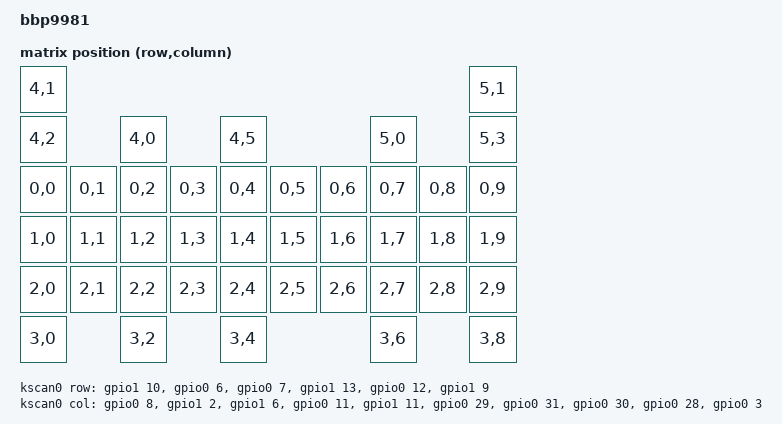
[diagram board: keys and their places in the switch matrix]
/*
 * Copyright (c) 2025 ZitaoTech
 *
 * SPDX-License-Identifier: MIT
 */

/dts-v1/;
#include <nordic/nrf52840_qiaa.dtsi>

#include <dt-bindings/led/led.h>
#include <dt-bindings/zmk/matrix_transform.h>
#include "bbp9981-pinctrl.dtsi"
#include "bbp9981-layouts.dtsi"

/ {
    model = "bbp9981";
    compatible = "ZitaoTech,bbp9981";

    chosen {
        zephyr,code-partition = &code_partition;
        zephyr,sram = &sram0;
        zephyr,flash = &flash0;
        zephyr,console = &cdc_acm_uart;
        zmk,battery = &vbatt;
        zmk,kscan = &kscan0;
        zmk,physical-layouts = &bbp9981_layout;
        zmk,keyboard_backlight = &keyboard_backlight;
        zmk,trackpad_led = &trackpad_led;
        zmk,backlight = &backlight;
        zmk,underglow = &led_strip;
        zmk,studio-rpc-uart = &cdc_acm_uart; // ✅ enable ZMK Studio
    };

    keyboard_backlight: pwmledfo{
        compatible = "pwm-leds";
        pwm_led_0 {
            pwms = <&pwm2 0 PWM_USEC(20) PWM_POLARITY_NORMAL>;
        };
        pwm_led_1 {
            pwms = <&pwm3 0 PWM_MSEC(10) PWM_POLARITY_NORMAL>;
        };
    };

    trackpad_led: pwmledo{
        compatible = "pwm-leds";
        pwm_led_0 {
            pwms = <&pwm1 0 PWM_USEC(20) PWM_POLARITY_NORMAL>;
        };
    };

    backlight: pwmleds {
        compatible = "pwm-leds";
        pwm_led_0 {
            pwms = <&pwm0 0 PWM_MSEC(10) PWM_POLARITY_NORMAL>;
        };
    };

    default_transform: keymap_transform_0 {
        compatible = "zmk,matrix-transform";
        columns = <10>;
        rows = <6>;
        map = <
RC(4,1)                                                                   RC(5,1)
RC(4,2)          RC(4,0)             RC(4,5)             RC(5,0)          RC(5,3)
RC(0,0)  RC(0,1) RC(0,2) RC(0,3) RC(0,4) RC(0,5) RC(0,6) RC(0,7) RC(0,8)  RC(0,9)
RC(1,0)  RC(1,1) RC(1,2) RC(1,3) RC(1,4) RC(1,5) RC(1,6) RC(1,7) RC(1,8)  RC(1,9)
RC(2,0)  RC(2,1) RC(2,2) RC(2,3) RC(2,4) RC(2,5) RC(2,6) RC(2,7) RC(2,8)  RC(2,9)
RC(3,0)          RC(3,2)             RC(3,4)             RC(3,6)          RC(3,8)
        >;
    };

    kscan0: kscan {
        compatible = "zmk,kscan-gpio-matrix";
        diode-direction = "col2row";
        row-gpios
            = <&gpio1 10 (GPIO_ACTIVE_HIGH | GPIO_PULL_DOWN)>
            , <&gpio0 6  (GPIO_ACTIVE_HIGH | GPIO_PULL_DOWN)>
            , <&gpio0 7 (GPIO_ACTIVE_HIGH | GPIO_PULL_DOWN)>
            , <&gpio1 13  (GPIO_ACTIVE_HIGH | GPIO_PULL_DOWN)>
            , <&gpio0 12  (GPIO_ACTIVE_HIGH | GPIO_PULL_DOWN)>
            , <&gpio1 9 (GPIO_ACTIVE_HIGH | GPIO_PULL_DOWN)>
            ;
        col-gpios
            = <&gpio0 8  GPIO_ACTIVE_HIGH>
            , <&gpio1 2  GPIO_ACTIVE_HIGH>
            , <&gpio1 6  GPIO_ACTIVE_HIGH>
            , <&gpio0 11 GPIO_ACTIVE_HIGH>
            , <&gpio1 11 GPIO_ACTIVE_HIGH>
            , <&gpio0 29 GPIO_ACTIVE_HIGH>
            , <&gpio0 31 GPIO_ACTIVE_HIGH>
            , <&gpio0 30 GPIO_ACTIVE_HIGH>
            , <&gpio0 28 GPIO_ACTIVE_HIGH>
            , <&gpio0 3 GPIO_ACTIVE_HIGH>
            ;
    };

    leds {
        compatible = "gpio-leds";
        blue_led: led_0 {
            gpios = <&gpio0 10 GPIO_ACTIVE_HIGH>;
        };
    };

    // Node name must match original "EXT_POWER" label to preserve user settings.
    EXT_POWER {
        compatible = "zmk,ext-power-generic";
        control-gpios = <&gpio0 13 GPIO_ACTIVE_LOW>;
    };

    vbatt: vbatt {
        compatible = "zmk,battery-voltage-divider";
        io-channels = <&adc 2>;
        output-ohms = <2000000>;
        full-ohms = <2820000>;  // 2000000 + 820000
    };
};

&adc {
    status = "okay";
};

&gpiote {
    status = "okay";
};

&gpio0 {
    status = "okay";
};

&gpio1 {
    status = "okay";
};

&pwm0 {
    status = "okay";
    pinctrl-0 = <&pwm0_default>;
    pinctrl-1 = <&pwm0_sleep>;
    pinctrl-names = "default", "sleep";
};

&pwm1 {
    status = "okay";
    pinctrl-0 = <&pwm1_default>;
    pinctrl-1 = <&pwm1_sleep>;
    pinctrl-names = "default", "sleep";
};

&pwm2 {
    status = "okay";
    pinctrl-0 = <&pwm2_default>;
    pinctrl-1 = <&pwm2_sleep>;
    pinctrl-names = "default", "sleep";
};

&pwm3 {
    status = "okay";
    pinctrl-0 = <&pwm3_default>;
    pinctrl-1 = <&pwm3_sleep>;
    pinctrl-names = "default", "sleep";
};


&i2c0 {
    status = "okay";
    compatible = "nordic,nrf-twim";
    clock-frequency = <I2C_BITRATE_FAST>; 
    pinctrl-0 = <&i2c0_default>;
    pinctrl-1 = <&i2c0_sleep>;
    pinctrl-names = "default", "sleep";

    trackpad:a320@57 {
        compatible = "avago,a320";
        reg = <0x57>;
        status = "okay";
    };
};


/ {
    trackpad_inputs {
        #address-cells = <1>;
        #size-cells = <0>;

    };
    trackpad_listener: trackpad_listener {
        compatible = "zmk,input-listener";
        status = "disabled";
        device = <&trackpad>;
    };
};

&trackpad_listener {
    status = "okay";
};


&spi3 {
    compatible = "nordic,nrf-spim";
    status = "okay";

    pinctrl-0 = <&spi3_default>;
    pinctrl-1 = <&spi3_sleep>;
    pinctrl-names = "default", "sleep";

    led_strip: ws2812@0 {
        compatible = "worldsemi,ws2812-spi";
        /* SPI */
        reg = <0>; /* ignored, but necessary for SPI bindings */
        spi-max-frequency = <400000>;
        /* WS2812 */
        chain-length = <1>; /* number of LEDs */
        spi-one-frame = <0x70>;
        spi-zero-frame = <0x40>;
        color-mapping = <LED_COLOR_ID_GREEN
                         LED_COLOR_ID_RED
                         LED_COLOR_ID_BLUE>;
    };
};

&usbd {
    status = "okay";
    cdc_acm_uart: cdc_acm_uart {
        compatible = "zephyr,cdc-acm-uart";
    };
};

&bbp9981_layout{
	transform = <&default_transform>;
	kscan = <&kscan0>;
}; 

zephyr_udc0: &usbd { 
    compatible = "nordic,nrf-usbd"; 
    status = "okay"; 
};

&flash0 {
    /*
     * For more information, see:
     * http://docs.zephyrproject.org/latest/devices/dts/flash_partitions.html
     */
    partitions {
        compatible = "fixed-partitions";
        #address-cells = <1>;
        #size-cells = <1>;

        sd_partition: partition@0 {
            reg = <0x00000000 0x00001000>;
        };

        code_partition: partition@1000 {
            reg = <0x00001000 0x000d3000>;
        };

        /*
         * The flash starting at 0x000d4000 and ending at
         * 0x000f3fff is reserved for use by the application.
         */

        /*
         * Storage partition will be used by FCB/LittleFS/NVS
         * if enabled.
         */
        storage_partition: partition@d4000 {
            reg = <0x000d4000 0x00020000>;
        };

        boot_partition: partition@f4000 {
            reg = <0x000f4000 0x0000c000>;
        };
    };
};
